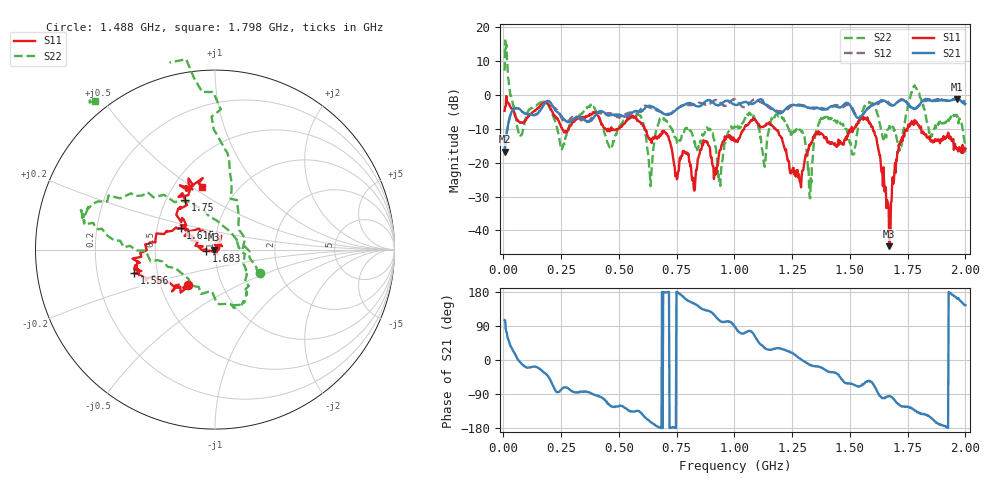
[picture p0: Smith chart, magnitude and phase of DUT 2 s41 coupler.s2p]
! PocketVna 1.60  pocketvna.com
! Live measurements ((Reflection-S11, Transmission-S21, Transmission-S12, Reflection-S22) Linear 5000000-2000000000/800 calibrated)
# Hz S RI R 50
! Hz  ReS11  ImS11  ReS21  ImS21  ReS12  ImS12  ReS22  ImS22
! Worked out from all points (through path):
!   800 points, 5 MHz to 2 GHz, reference 50 ohm
!   highest |S21| = -1.24 dB at 1.963 GHz (marker M1); lowest = -16.7 dB at 5 MHz (marker M2)
!   group delay of S21, straight-line fit = 806 ps
!   lowest |S11| = -44.6 dB at 1.67 GHz (marker M3), VSWR 1.01, Z = 49.4 - j0.0815 ohm
!   |S11| at or under -10 dB: 611.2 MHz to 1.042 GHz (431.2 MHz wide, 52.2 % of centre); 1.177 GHz to 1.506 GHz (329.7 MHz wide, 24.6 % of centre); 1.809 GHz to end of sweep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
!   |S22| runs from -30.5 to 16.0 dB; largest |S21 - S12| = 0.17
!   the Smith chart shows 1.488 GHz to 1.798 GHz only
!   S11 on the Smith chart (normalised r, x): 1.488 GHz: 0.69, -0.29; 1.556 GHz: 0.37, -0.12; 1.615 GHz: 0.66, +0.17; 1.683 GHz: 0.91, -0.01; 1.75 GHz: 0.62, +0.39; 1.798 GHz: 0.69, +0.55
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5000000  0.5746 -0.0704  -0.0382 0.1403  0.0628 0.1611  2.248 -0.1174
2.24781e7  0.0435 -0.7243  0.2455 0.3153  0.2495 0.2991  -0.4649 -1.538
3.496245e7  -0.3368 -0.5322  0.4676 0.296  0.4668 0.2994  -0.3519 -0.7824
9.738423e7  -0.3638 0.2086  0.49 -0.1688  0.4947 -0.1745  -0.288 0.374
3.395807e8  -0.0889 0.4586  0.0499 -0.4431  0.058 -0.4127  0.0504 0.5182
5.892678e8  0.3019 0.2627  -0.4038 -0.386  -0.4591 -0.3506  0.3279 0.3711
6.367084e8  0.2092 -0.0771  -0.65 -0.1938  -0.6139 -0.1984  0.0386 -0.0228
6.716646e8  0.0638 -0.2247  -0.587 -0.0331  -0.5754 -0.0313  -0.0536 -0.382
9.363329e8  0.1481 0.0336  -0.1659 0.6926  -0.2918 0.7196  0.0145 0.054
1.003748e9  0.19 0.0731  0.0425 0.7077  0.0152 0.8493  0.3329 0.0439
1.335832e9  -0.0818 -0.1885  0.6162 -0.1619  0.6072 -0.1554  -0.0923 0.0107
1.488141e9  -0.1515 -0.1959  0.3681 -0.6591  0.2862 -0.6585  0.2483 -0.1295
1.555557e9  -0.4504 -0.1323  0.2265 -0.4488  0.205 -0.4628  -0.5101 0.2941
1.615482e9  -0.1912 0.1189  0.138 -0.7436  0.1469 -0.7168  -0.5629 0.052
1.667916e9  0.00382 -0.0205  -0.066 -0.7299  -0.096 -0.7617  0.0847 -0.3018
1.670413e9  -0.00582 -0.000824  -0.0635 -0.7136  -0.0887 -0.745  0.1098 -0.3266
1.682897e9  -0.0479 -0.00697  -0.1044 -0.6918  -0.1224 -0.6783  0.1576 -0.2874
1.750313e9  -0.1669 0.277  -0.4082 -0.6113  -0.4065 -0.6239  -0.00663 0.6696
1.797753e9  -0.0703 0.3506  -0.5143 -0.4588  -0.5396 -0.4132  -0.6701 0.8276
1.875156e9  0.0117 0.2103  -0.7883 -0.1911  -0.8225 -0.2115  -0.0311 -0.3466
1.962547e9  0.147 -0.0507  -0.8285 0.2552  -0.8323 0.2164  0.4963 0.0726
2e9  -0.0515 -0.1512  -0.5957 0.4253  -0.6038 0.4969  0.0875 0.1107
